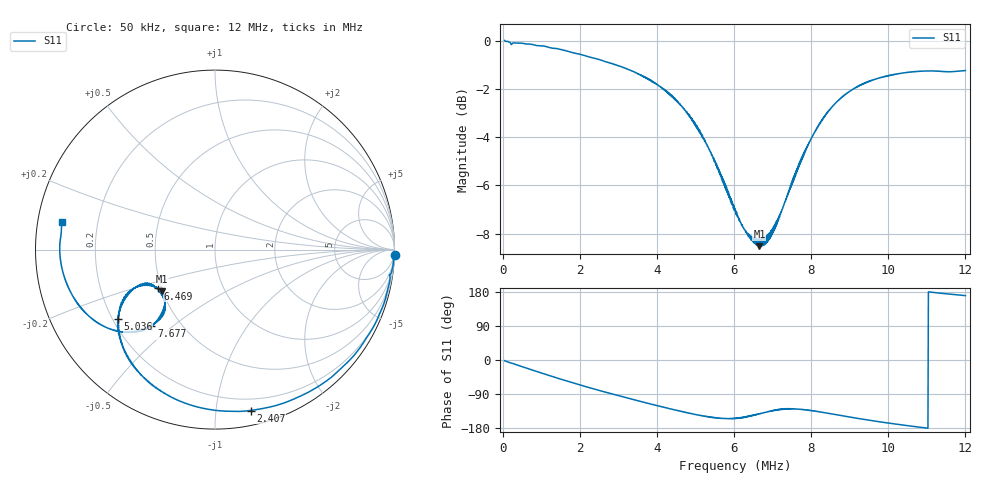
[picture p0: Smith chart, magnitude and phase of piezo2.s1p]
# Hz S RI R 50
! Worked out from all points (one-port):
!   1010 points, 50 kHz to 12 MHz, reference 50 ohm
!   lowest |S11| = -8.5 dB at 6.658 MHz (marker M1), VSWR 2.20, Z = 24.9 - j13.5 ohm
!   |S11| at or under -10 dB: nowhere
!   S11 on the Smith chart (normalised r, x): 50 kHz: -1, -62; 2.407 MHz: 0.11, -1.24; 5.036 MHz: 0.22, -0.31; 6.469 MHz: 0.48, -0.24; 7.677 MHz: 0.34, -0.42; 12 MHz: 0.07, +0.09
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50000  1 -0.0325
440800  0.9529 -0.2624
725000  0.8902 -0.4172
1139500  0.7562 -0.6095
1554043  0.5877 -0.7548
2004043  0.3833 -0.8546
2406743  0.1979 -0.8966
3046186  -0.0825 -0.8806
3425186  -0.2307 -0.8284
3827829  -0.3608 -0.7463
4183129  -0.4496 -0.6496
4538429  -0.5139 -0.538
5035872  -0.5422 -0.3877
5580672  -0.4809 -0.2474
6030715  -0.3998 -0.1894
6468815  -0.3186 -0.2161
6658315  -0.294 -0.2326
6883315  -0.2861 -0.275
7108415  -0.2806 -0.3068
7522858  -0.3166 -0.3967
7676858  -0.3545 -0.4266
7996558  -0.4323 -0.4515
8316358  -0.5152 -0.4577
9015101  -0.6867 -0.3832
9725644  -0.795 -0.2544
1.050734e7  -0.854 -0.0989
1.130079e7  -0.8631 0.0479
1.199959e7  -0.8531 0.1533
